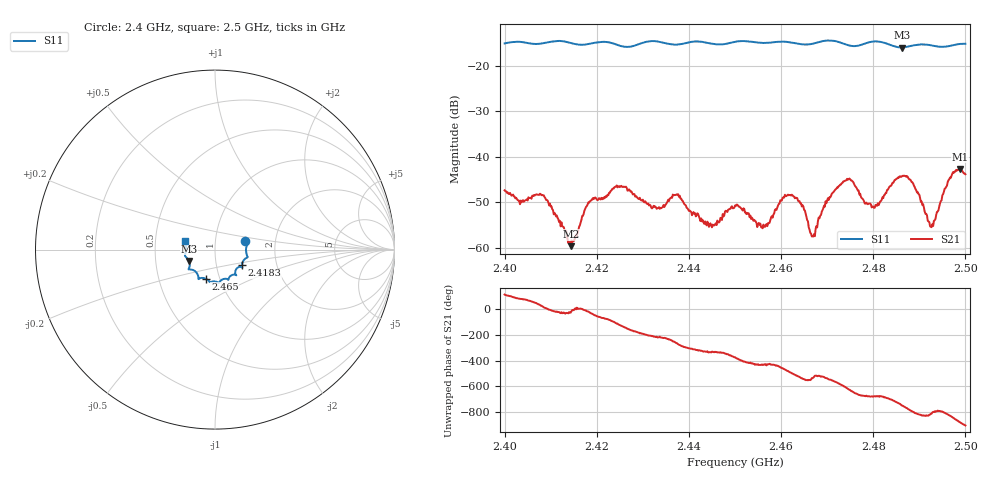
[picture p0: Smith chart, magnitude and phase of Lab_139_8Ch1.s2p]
# Hz S RI R 50
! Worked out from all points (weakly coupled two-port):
!   601 points, 2.4 GHz to 2.5 GHz, reference 50 ohm
!   highest |S21| = -42.70 dB at 2.4988 GHz (marker M1); lowest = -59.7 dB at 2.4143 GHz (marker M2)
!   lowest |S11| = -16.0 dB at 2.4862 GHz (marker M3), VSWR 1.38, Z = 37.1 - j4.8 ohm
!   |S11| at or under -10 dB: start of sweep to end of sweep
!   S12 and S22 are empty: the file has one direction only
!   S11 on the Smith chart (normalised r, x): 2.4 GHz: 1.40, +0.13; 2.4183 GHz: 1.33, -0.24; 2.465 GHz: 0.86, -0.29; 2.5 GHz: 0.71, +0.07
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2.4e9  0.1691 0.0458  -0.00181 0.00386  0 0  0 0
2.408167e9  0.1745 -0.0177  0.00347 0.00154  0 0  0 0
2.414333e9  0.1704 -0.0489  0.000933 -0.000455  0 0  0 0
2.416667e9  0.1549 -0.0684  0.00201 0.00013  0 0  0 0
2.418333e9  0.1499 -0.0869  0.0029 -0.00116  0 0  0 0
2.425833e9  0.1269 -0.0998  -0.00344 -0.00318  0 0  0 0
2.433333e9  0.1168 -0.1415  -0.00213 0.00168  0 0  0 0
2.4375e9  0.0857 -0.147  -0.000149 0.00382  0 0  0 0
2.444833e9  0.0631 -0.1627  0.00161 0.000726  0 0  0 0
2.45e9  0.0252 -0.1807  0.00282 -0.000711  0 0  0 0
2.456167e9  -0.00251 -0.1772  0.000514 -0.00172  0 0  0 0
2.461333e9  -0.031 -0.1792  -0.00188 -0.00326  0 0  0 0
2.465e9  -0.0526 -0.1622  -0.00259 0.00024  0 0  0 0
2.466667e9  -0.0712 -0.1577  -0.00133 -7.65e-05  0 0  0 0
2.473833e9  -0.0947 -0.1437  -0.00244 0.00484  0 0  0 0
2.48e9  -0.147 -0.1104  0.0022 0.00178  0 0  0 0
2.483333e9  -0.1419 -0.0961  0.0041 0.00181  0 0  0 0
2.486167e9  -0.1448 -0.0632  0.0053 -0.00288  0 0  0 0
2.4885e9  -0.16 -0.0433  0.00116 -0.00509  0 0  0 0
2.4925e9  -0.1655 -0.0238  -0.000121 -0.00169  0 0  0 0
2.498833e9  -0.1679 0.0411  -0.00693 -0.0024  0 0  0 0
2.5e9  -0.167 0.0474  -0.00638 0.000594  0 0  0 0
